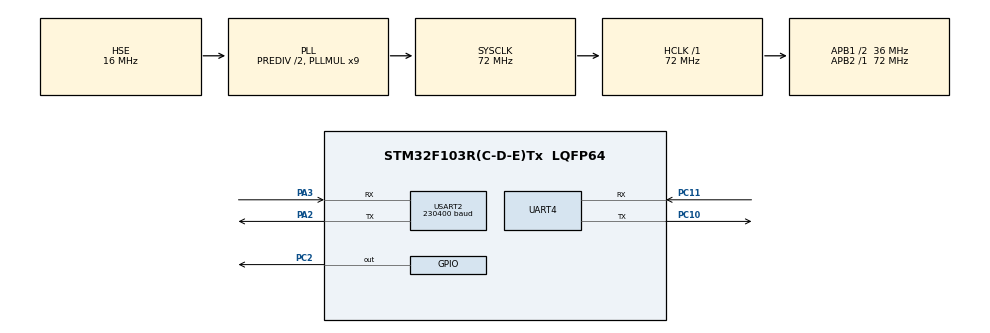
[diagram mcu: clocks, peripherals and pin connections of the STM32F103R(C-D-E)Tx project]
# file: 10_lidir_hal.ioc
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Dma.Request0=USART2_RX
Dma.Request1=UART4_TX
Dma.Request2=UART4_RX
Dma.UART4_RX.2.Direction=DMA_PERIPH_TO_MEMORY
Dma.UART4_RX.2.Instance=DMA2_Channel3
Dma.UART4_RX.2.MemDataAlignment=DMA_MDATAALIGN_BYTE
Dma.UART4_RX.2.MemInc=DMA_MINC_ENABLE
Dma.UART4_RX.2.Mode=DMA_NORMAL
Dma.UART4_RX.2.PeriphDataAlignment=DMA_PDATAALIGN_BYTE
Dma.UART4_RX.2.PeriphInc=DMA_PINC_DISABLE
Dma.UART4_RX.2.Priority=DMA_PRIORITY_LOW
Dma.UART4_TX.1.Direction=DMA_MEMORY_TO_PERIPH
Dma.UART4_TX.1.Instance=DMA2_Channel5
Dma.UART4_TX.1.MemDataAlignment=DMA_MDATAALIGN_BYTE
Dma.UART4_TX.1.MemInc=DMA_MINC_ENABLE
Dma.UART4_TX.1.Mode=DMA_NORMAL
Dma.UART4_TX.1.PeriphDataAlignment=DMA_PDATAALIGN_BYTE
Dma.UART4_TX.1.PeriphInc=DMA_PINC_DISABLE
Dma.UART4_TX.1.Priority=DMA_PRIORITY_LOW
Dma.USART2_RX.0.Direction=DMA_PERIPH_TO_MEMORY
Dma.USART2_RX.0.Instance=DMA1_Channel6
Dma.USART2_RX.0.MemDataAlignment=DMA_MDATAALIGN_BYTE
Dma.USART2_RX.0.MemInc=DMA_MINC_ENABLE
Dma.USART2_RX.0.Mode=DMA_CIRCULAR
Dma.USART2_RX.0.PeriphDataAlignment=DMA_PDATAALIGN_BYTE
Dma.USART2_RX.0.PeriphInc=DMA_PINC_DISABLE
Dma.USART2_RX.0.Priority=DMA_PRIORITY_HIGH
Mcu.Family=STM32F1
Mcu.Name=STM32F103R(C-D-E)Tx
Mcu.Package=LQFP64
NVIC.DMA1_Channel6_IRQn=true\:0\:0\:false\:false\:true\:false\:true\:true
NVIC.DMA2_Channel3_IRQn=true\:0\:0\:false\:false\:true\:false\:true\:true
NVIC.DMA2_Channel4_5_IRQn=true\:0\:0\:false\:false\:true\:false\:true\:true
NVIC.PriorityGroup=NVIC_PRIORITYGROUP_4
NVIC.UART4_IRQn=true\:0\:0\:false\:false\:true\:false\:true\:true
NVIC.USART2_IRQn=true\:0\:0\:false\:false\:true\:false\:true\:true
PA13.Mode=Serial_Wire
PA13.Signal=SYS_JTMS-SWDIO
PA14.Mode=Serial_Wire
PA14.Signal=SYS_JTCK-SWCLK
PA2.Mode=Asynchronous
PA2.Signal=USART2_TX
PA3.Mode=Asynchronous
PA3.Signal=USART2_RX
PC10.Mode=Asynchronous
PC10.Signal=UART4_TX
PC11.Mode=Asynchronous
PC11.Signal=UART4_RX
PC2.Signal=GPIO_Output
PD0-OSC_IN.Mode=HSE-External-Oscillator
PD0-OSC_IN.Signal=RCC_OSC_IN
PD1-OSC_OUT.Mode=HSE-External-Oscillator
PD1-OSC_OUT.Signal=RCC_OSC_OUT
ProjectManager.HeapSize=0x200
ProjectManager.StackSize=0x400
ProjectManager.TargetToolchain=MDK-ARM V5.32
RCC.AHBFreq_Value=72000000
RCC.APB1CLKDivider=RCC_HCLK_DIV2
RCC.APB1Freq_Value=36000000
RCC.APB1TimFreq_Value=72000000
RCC.APB2Freq_Value=72000000
RCC.APB2TimFreq_Value=72000000
RCC.HCLKFreq_Value=72000000
RCC.HSEDivPLL=RCC_HSE_PREDIV_DIV2
RCC.HSE_VALUE=16000000
RCC.PLLMUL=RCC_PLL_MUL9
RCC.PLLSourceVirtual=RCC_PLLSOURCE_HSE
RCC.SYSCLKFreq_VALUE=72000000
RCC.SYSCLKSource=RCC_SYSCLKSOURCE_PLLCLK
RCC.USBFreq_Value=72000000
UART4.VirtualMode=Asynchronous
USART2.BaudRate=230400
USART2.VirtualMode=VM_ASYNC
board=custom

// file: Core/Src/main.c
/* USER CODE BEGIN Header */
/**
  ******************************************************************************
  * @file           : main.c
  * @brief          : Main program body
  ******************************************************************************
  * @attention
  *
  * Copyright (c) 2026 STMicroelectronics.
  * All rights reserved.
  *
  * This software is licensed under terms that can be found in the LICENSE file
  * in the root directory of this software component.
  * If no LICENSE file comes with this software, it is provided AS-IS.
  *
  ******************************************************************************
  */
/* USER CODE END Header */
#include "main.h"
#include "dma.h"
#include "usart.h"
#include "gpio.h"

/* USER CODE BEGIN Includes */
#include "bsp_lidar.h"
#include "app_detect.h"
#include "app_communicat.h"
/* USER CODE END Includes */

/* USER CODE BEGIN PV */
static LidarPoint_t lidar_output_points[POINT_PER_PACK] = {0};
/* USER CODE END PV */

void SystemClock_Config(void);

int main(void)
{

  /* MCU Configuration--------------------------------------------------------*/

  /* Reset of all peripherals, Initializes the Flash interface and the Systick. */
  HAL_Init();

  /* Configure the system clock */
  SystemClock_Config();

  /* Initialize all configured peripherals */
  MX_GPIO_Init();
  MX_DMA_Init();
  MX_USART2_UART_Init();
  MX_UART4_Init();
  /* USER CODE BEGIN 2 */
  lidar_init(lidar_output_points);
  app_detect_init();
  app_comm_init();
  /* USER CODE END 2 */

  /* Infinite loop */
  while (1)
  {

    /* USER CODE BEGIN 3 */
    lidar_process();
    if (lidar_take_frame_ready()) {
      app_detect_feed(lidar_output_points, POINT_PER_PACK);
    }
    app_detect_process();
    app_comm_process();
  }
  /* USER CODE END 3 */
}

void SystemClock_Config(void)
{
  RCC_OscInitTypeDef RCC_OscInitStruct = {0};
  RCC_ClkInitTypeDef RCC_ClkInitStruct = {0};

  /** Initializes the RCC Oscillators according to the specified parameters
  * in the RCC_OscInitTypeDef structure.
  */
  RCC_OscInitStruct.OscillatorType = RCC_OSCILLATORTYPE_HSE;
  RCC_OscInitStruct.HSEState = RCC_HSE_ON;
  RCC_OscInitStruct.HSEPredivValue = RCC_HSE_PREDIV_DIV2;
  RCC_OscInitStruct.HSIState = RCC_HSI_ON;
  RCC_OscInitStruct.PLL.PLLState = RCC_PLL_ON;
  RCC_OscInitStruct.PLL.PLLSource = RCC_PLLSOURCE_HSE;
  RCC_OscInitStruct.PLL.PLLMUL = RCC_PLL_MUL9;
  if (HAL_RCC_OscConfig(&RCC_OscInitStruct) != HAL_OK)
  {
    Error_Handler();
  }

  /** Initializes the CPU, AHB and APB buses clocks
  */
  RCC_ClkInitStruct.ClockType = RCC_CLOCKTYPE_HCLK|RCC_CLOCKTYPE_SYSCLK
                              |RCC_CLOCKTYPE_PCLK1|RCC_CLOCKTYPE_PCLK2;
  RCC_ClkInitStruct.SYSCLKSource = RCC_SYSCLKSOURCE_PLLCLK;
  RCC_ClkInitStruct.AHBCLKDivider = RCC_SYSCLK_DIV1;
  RCC_ClkInitStruct.APB1CLKDivider = RCC_HCLK_DIV2;
  RCC_ClkInitStruct.APB2CLKDivider = RCC_HCLK_DIV1;

  if (HAL_RCC_ClockConfig(&RCC_ClkInitStruct, FLASH_LATENCY_2) != HAL_OK)
  {
    Error_Handler();
  }
}

/* USER CODE BEGIN 4 */
void HAL_UART_TxCpltCallback(UART_HandleTypeDef *huart)
{
  bsp_lidar_uart_tx_cplt(huart);
  app_comm_uart_tx_cplt(huart);
}

/* USER CODE END 4 */

void Error_Handler(void)
{
  __disable_irq();
  while (1)
  {
  }
}
